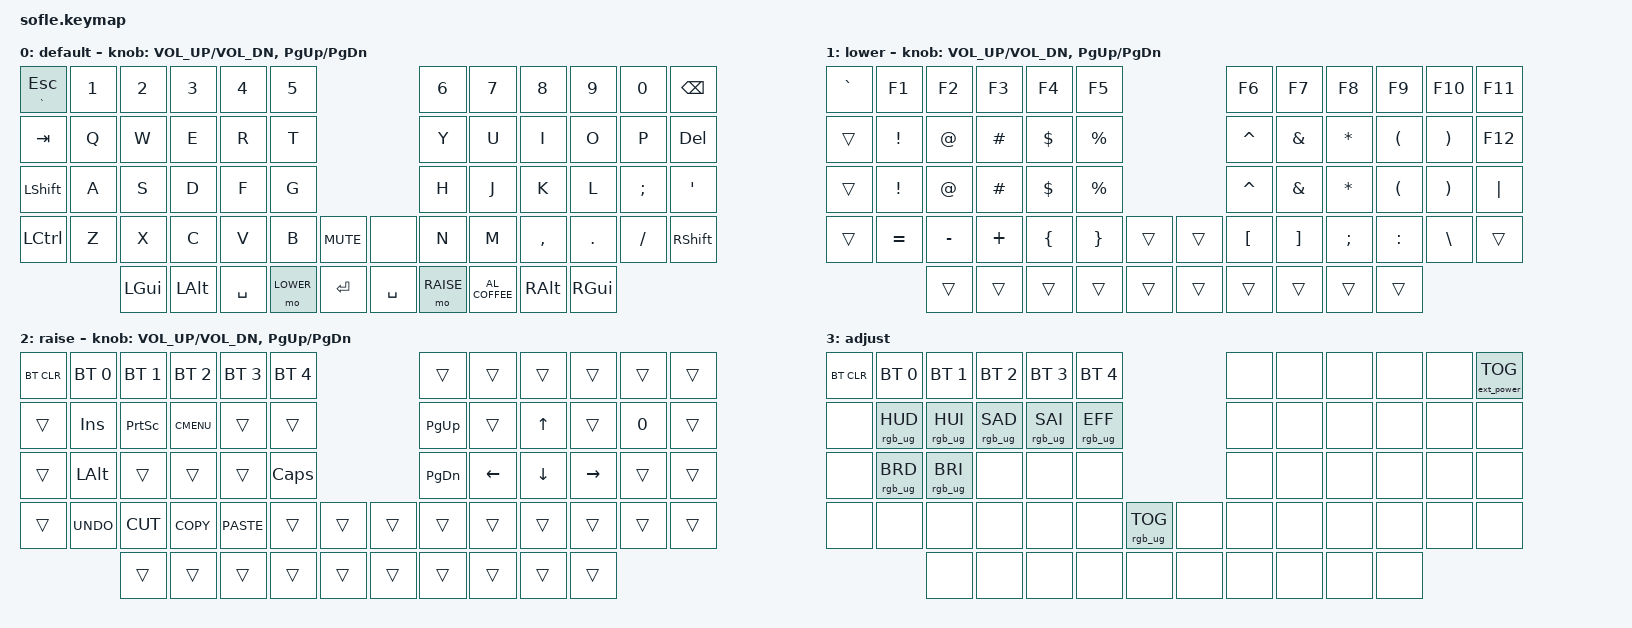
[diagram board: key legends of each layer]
/*
 * Copyright (c) 2020 The ZMK Contributors
 *
 * SPDX-License-Identifier: MIT
 */

#include <behaviors.dtsi>
#include <dt-bindings/zmk/bt.h>
#include <dt-bindings/zmk/ext_power.h>
#include <dt-bindings/zmk/keys.h>
#include <dt-bindings/zmk/rgb.h>

#define BASE 0
#define LOWER 1
#define RAISE 2
#define ADJUST 3

&nice_view_spi {
    cs-gpios = <&pro_micro 0 GPIO_ACTIVE_HIGH>;  // use D0 (008) for CS niceview + rgb
};

/ {
    // Activate ADJUST layer by pressing raise and lower

    conditional_layers {
        compatible = "zmk,conditional-layers";

        adjust_layer {
            if-layers = <LOWER RAISE>;
            then-layer = <ADJUST>;
        };
    };

    keymap {
        compatible = "zmk,keymap";

        default_layer {
            display-name = "default";

            // ------------------------------------------------------------------------------------------------------------
            // |   `   |  1  |  2  |  3   |  4   |  5   |                   |  6   |  7    |  8    |  9   |   0   |       |
            // |  ESC  |  Q  |  W  |  E   |  R   |  T   |                   |  Y   |  U    |  I    |  O   |   P   | BKSPC |
            // |  TAB  |  A  |  S  |  D   |  F   |  G   |                   |  H   |  J    |  K    |  L   |   ;   |   '   |
            // | SHIFT |  Z  |  X  |  C   |  V   |  B   |  MUTE  |  |       |  N   |  M    |  ,    |  .   |   /   | SHIFT |
            //               | GUI | ALT  | CTRL | LOWER|  ENTER |  | SPACE | RAISE| CTRL  | ALT   | GUI  |

            bindings = <
&mt GRAVE ESCAPE  &kp N1  &kp N2    &kp N3    &kp N4     &kp N5                              &kp N6     &kp N7           &kp N8     &kp N9    &kp N0    &kp BACKSPACE
&kp TAB           &kp Q   &kp W     &kp E     &kp R      &kp T                               &kp Y      &kp U            &kp I      &kp O     &kp P     &kp DELETE
&kp LEFT_SHIFT    &kp A   &kp S     &kp D     &kp F      &kp G                               &kp H      &kp J            &kp K      &kp L     &kp SEMI  &kp SQT
&kp LEFT_CONTROL  &kp Z   &kp X     &kp C     &kp V      &kp B      &kp C_MUTE    &none      &kp N      &kp M            &kp COMMA  &kp DOT   &kp FSLH  &kp RSHFT
                          &kp LGUI  &kp LALT  &kp SPACE  &mo LOWER  &kp RET       &kp SPACE  &mo RAISE  &kp C_AL_COFFEE  &kp RALT   &kp RGUI
            >;

            sensor-bindings = <&inc_dec_kp C_VOL_UP C_VOL_DN &inc_dec_kp PG_UP PG_DN>;
        };

        lower_layer {
            display-name = "lower";

            // TODO: Some binds are waiting for shifted keycode support.
            // ------------------------------------------------------------------------------------------------------------
            // |       |  F1 |  F2 |  F3  |  F4  |  F5  |                   |  F6  |  F7   |  F8   |  F9  |  F10  |  F11  |
            // |   `   |  1  |  2  |  3   |  4   |  5   |                   |  6   |  7    |  8    |  9   |   0   |  F12  |
            // |       |  !  |  @  |  #   |  $   |  %   |                   |  ^   |  &    |  *    |  (   |   )   |   |   |
            // |       |  =  |  -  |  +   |  {   |  }   |        |  |       |  [   |  ]    |  ;    |  :   |   \   |       |
            //               |     |      |      |      |        |  |       |      |       |       |      |

            bindings = <
&kp GRAVE  &kp F1     &kp F2     &kp F3    &kp F4      &kp F5                         &kp F6     &kp F7         &kp F8        &kp F9                &kp F10                &kp F11
&trans     &kp EXCL   &kp AT     &kp HASH  &kp DOLLAR  &kp PERCENT                    &kp CARET  &kp AMPERSAND  &kp ASTERISK  &kp LEFT_PARENTHESIS  &kp RIGHT_PARENTHESIS  &kp F12
&trans     &kp EXCL   &kp AT     &kp HASH  &kp DLLR    &kp PRCNT                      &kp CARET  &kp AMPS       &kp ASTRK     &kp LPAR              &kp RPAR               &kp PIPE
&trans     &kp EQUAL  &kp MINUS  &kp PLUS  &kp LBRC    &kp RBRC     &trans    &trans  &kp LBKT   &kp RBKT       &kp SEMI      &kp COLON             &kp BSLH               &trans
                      &trans     &trans    &trans      &trans       &trans    &trans  &trans     &trans         &trans        &trans
            >;

            sensor-bindings = <&inc_dec_kp C_VOL_UP C_VOL_DN &inc_dec_kp PG_UP PG_DN>;
        };

        raise_layer {
            display-name = "raise";

            // ------------------------------------------------------------------------------------------------------------
            // | BTCLR | BT1  | BT2  |  BT3  |  BT4  |  BT5 |                |      |      |       |      |       |       |
            // |       | INS  | PSCR | GUI   |       |      |                | PGUP |      |   ^   |      |       |       |
            // |       | ALT  | CTRL | SHIFT |       | CAPS |                | PGDN |   <- |   v   |  ->  |  DEL  | BKSPC |
            // |       | UNDO | CUT  | COPY  | PASTE |      |      |  |      |      |      |       |      |       |       |
            //                |      |       |       |      |      |  |      |      |      |       |      |

            bindings = <
&bt BT_CLR  &bt BT_SEL 0  &bt BT_SEL 1  &bt BT_SEL 2  &bt BT_SEL 3  &bt BT_SEL 4                    &trans     &trans    &trans    &trans     &trans  &trans
&trans      &kp INS       &kp PSCRN     &kp K_CMENU   &trans        &trans                          &kp PG_UP  &trans    &kp UP    &trans     &kp N0  &trans
&trans      &kp LALT      &trans        &trans        &trans        &kp CLCK                        &kp PG_DN  &kp LEFT  &kp DOWN  &kp RIGHT  &trans  &trans
&trans      &kp K_UNDO    &kp K_CUT     &kp K_COPY    &kp K_PASTE   &trans        &trans    &trans  &trans     &trans    &trans    &trans     &trans  &trans
                          &trans        &trans        &trans        &trans        &trans    &trans  &trans     &trans    &trans    &trans
            >;

            sensor-bindings = <&inc_dec_kp C_VOL_UP C_VOL_DN &inc_dec_kp PG_UP PG_DN>;
        };

        adjust_layer {
            // ----------------------------------------------------------------------------------------------------------------------------
            // | BTCLR  |  BT1    |  BT2    |   BT3   |   BT4   |   BT5   |                  |      |      |       |      |       |       |
            // | EXTPWR | RGB_HUD | RGB_HUI | RGB_SAD | RGB_SAI | RGB_EFF |                  |      |      |       |      |       |       |
            // |        | RGB_BRD | RGB_BRI |         |         |         |                  |      |      |       |      |       |       |
            // |        |         |         |         |         |         | RGB_TOG | |      |      |      |       |      |       |       |
            //                    |         |         |         |         |         | |      |      |      |       |      |

            display-name = "adjust";
            bindings = <
&bt BT_CLR  &bt BT_SEL 0     &bt BT_SEL 1     &bt BT_SEL 2     &bt BT_SEL 3     &bt BT_SEL 4                               &none  &none  &none  &none  &none  &ext_power EP_TOG
&none       &rgb_ug RGB_HUD  &rgb_ug RGB_HUI  &rgb_ug RGB_SAD  &rgb_ug RGB_SAI  &rgb_ug RGB_EFF                            &none  &none  &none  &none  &none  &none
&none       &rgb_ug RGB_BRD  &rgb_ug RGB_BRI  &none            &none            &none                                      &none  &none  &none  &none  &none  &none
&none       &none            &none            &none            &none            &none            &rgb_ug RGB_TOG    &none  &none  &none  &none  &none  &none  &none
                             &none            &none            &none            &none            &none              &none  &none  &none  &none  &none
            >;
        };
    };
};
